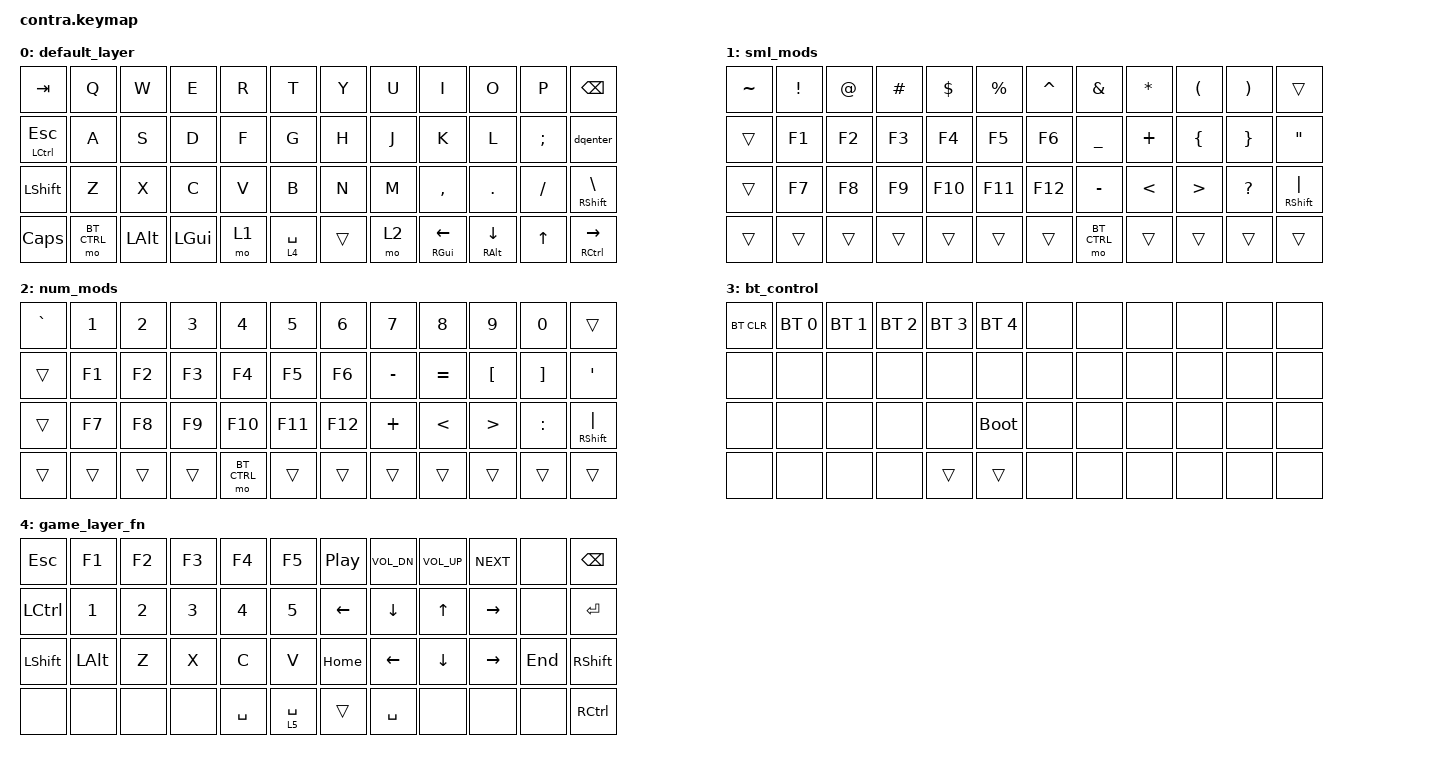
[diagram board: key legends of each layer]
/*
 * Copyright (c) 2021 The ZMK Contributors
 *
 * SPDX-License-Identifier: MIT
 */

#include <behaviors.dtsi>
#include <dt-bindings/zmk/keys.h>
#include <dt-bindings/zmk/bt.h>

#define DEFAULT     0
#define SML_MODS    1
#define NUM_MODS    2
#define BT_CTRL     3
#define FW_CTRL     4

&mt {
    tapping-term-ms = <175>;
};

/ {
    behaviors {
        dqenter: dqt_enter {
            compatible = "zmk,behavior-mod-morph";
            label = "DQT_ENTER";
            #binding-cells = <0>;
            bindings = <&kp ENTER>, <&kp DQT>;
            mods = <MOD_LSFT>;
        };
        tldesc: tilde_escape {
                        compatible = "zmk,behavior-mod-morph";
                        label = "TILDE_ESCAPE";
                        #binding-cells = <0>;
                        bindings = <&kp ESC>, <&kp TILDE>;
                        mods = <(MOD_LSFT|MOD_RGUI)>;
                };
    };

    keymap {
        compatible = "zmk,keymap";

        default_layer {
            bindings = <
    &kp TAB       &kp Q        &kp W    &kp E     &kp R     &kp T        &kp Y      &kp U    &kp I          &kp O          &kp P     &kp BSPC
    &mt LCTRL ESC &kp A        &kp S    &kp D     &kp F     &kp G        &kp H      &kp J    &kp K          &kp L          &kp SEMI  &dqenter
    &kp LSHFT     &kp Z        &kp X    &kp C     &kp V     &kp B        &kp N      &kp M    &kp COMMA      &kp DOT        &kp FSLH  &mt RSHFT BSLH
    &kp CAPS      &mo BT_CTRL  &kp LALT &kp LGUI  &mo 1     &lt 4 SPACE  &trans     &mo 2    &mt RGUI LEFT  &mt RALT DOWN  &kp UP    &mt RCTRL RIGHT
            >;
        };

        sml_mods {
            bindings = <
    &kp TILDE  &kp EXCL   &kp AT     &kp HASH   &kp DLLR      &kp PRCNT  &kp CARET     &kp AMPS    &kp ASTRK  &kp LPAR   &kp RPAR       &trans
    &trans     &kp F1     &kp F2     &kp F3     &kp F4        &kp F5     &kp F6        &kp UNDER   &kp PLUS   &kp LBRC   &kp RBRC       &kp DQT
    &trans     &kp F7     &kp F8     &kp F9     &kp F10       &kp F11    &kp F12       &kp MINUS   &kp LT     &kp GT     &kp QMARK      &mt RSHFT PIPE
    &trans     &trans     &trans     &trans     &trans        &trans     &trans        &mo BT_CTRL &trans     &trans     &trans         &trans
            >;
        };

        num_mods {
            bindings = <
    &kp GRAVE  &kp N1   &kp N2   &kp N3   &kp N4            &kp N5     &kp N6       &kp N7       &kp N8     &kp N9    &kp N0         &trans
    &trans     &kp F1   &kp F2   &kp F3   &kp F4            &kp F5     &kp F6       &kp MINUS    &kp EQUAL  &kp LBKT  &kp RBKT       &kp SQT
    &trans     &kp F7   &kp F8   &kp F9   &kp F10           &kp F11    &kp F12      &kp PLUS     &kp LT     &kp GT    &kp COLON       &mt RSHFT PIPE
    &trans     &trans   &trans   &trans   &mo BT_CTRL       &trans     &trans       &trans       &trans     &trans    &trans         &trans
            >;
        };

        bt_control {
            bindings = <
    &bt BT_CLR   &bt BT_SEL 0  &bt BT_SEL 1  &bt BT_SEL 2  &bt BT_SEL 3   &bt BT_SEL 4   &none   &none   &none   &none  &none  &none
    &none        &none         &none         &none         &none          &none          &none   &none   &none   &none  &none  &none
    &none        &none         &none         &none         &none          &bootloader    &none   &none   &none   &none  &none  &none
    &none        &none         &none         &none         &trans         &trans         &none   &none   &none   &none  &none  &none
            >;
        };
        
        game_layer_fn {
                        bindings = <
   &kp ESC   &kp F1    &kp F2    &kp F3    &kp F4      &kp F5       &kp C_PP  &kp C_VOL_DN  &kp C_VOL_UP  &kp C_NEXT  &none    &kp BSPC
   &kp LCTRL &kp N1    &kp N2    &kp N3    &kp N4      &kp N5       &kp LEFT  &kp DOWN      &kp UP        &kp RIGHT   &none    &kp ENTER
   &kp LSHFT &kp LALT  &kp Z     &kp X     &kp C       &kp V        &kp HOME  &kp LEFT      &kp DOWN      &kp RIGHT   &kp END  &kp RSHFT
   &none     &none     &none     &none     &kp SPACE   &lt 5 SPACE  &trans    &kp SPACE     &none         &none       &none    &kp RCTRL                  
                        >;
                };
    };
};
